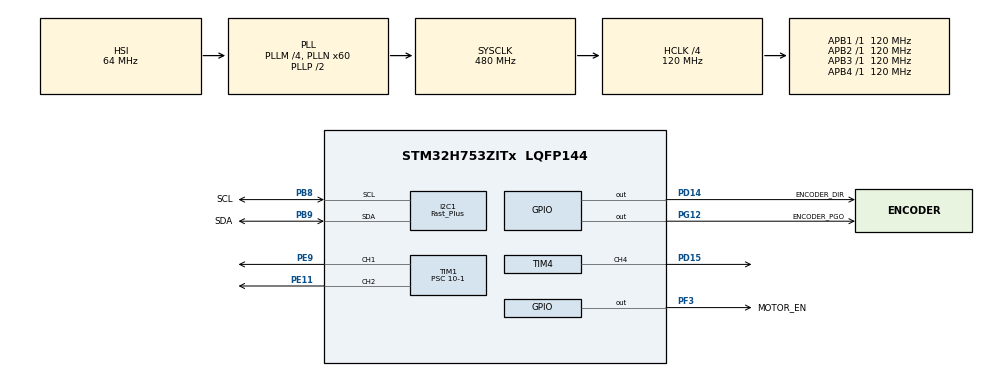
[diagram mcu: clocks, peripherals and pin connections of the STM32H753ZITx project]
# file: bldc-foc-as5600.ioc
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CORTEX_M7.CPU_DCache=Disabled
CORTEX_M7.CPU_ICache=Disabled
CORTEX_M7.MPU_Control=MPU_PRIVILEGED_DEFAULT
CORTEX_M7.default_mode_Activation=1
Dma.I2C1_RX.0.Direction=DMA_PERIPH_TO_MEMORY
Dma.I2C1_RX.0.EventEnable=DISABLE
Dma.I2C1_RX.0.FIFOMode=DMA_FIFOMODE_DISABLE
Dma.I2C1_RX.0.Instance=DMA1_Stream0
Dma.I2C1_RX.0.MemDataAlignment=DMA_MDATAALIGN_BYTE
Dma.I2C1_RX.0.MemInc=DMA_MINC_ENABLE
Dma.I2C1_RX.0.Mode=DMA_NORMAL
Dma.I2C1_RX.0.PeriphDataAlignment=DMA_PDATAALIGN_BYTE
Dma.I2C1_RX.0.PeriphInc=DMA_PINC_DISABLE
Dma.I2C1_RX.0.Polarity=HAL_DMAMUX_REQ_GEN_RISING
Dma.I2C1_RX.0.Priority=DMA_PRIORITY_LOW
Dma.I2C1_RX.0.RequestNumber=1
Dma.I2C1_RX.0.SignalID=NONE
Dma.I2C1_RX.0.SyncEnable=DISABLE
Dma.I2C1_RX.0.SyncPolarity=HAL_DMAMUX_SYNC_NO_EVENT
Dma.I2C1_RX.0.SyncRequestNumber=1
Dma.I2C1_RX.0.SyncSignalID=NONE
Dma.I2C1_TX.1.Direction=DMA_MEMORY_TO_PERIPH
Dma.I2C1_TX.1.EventEnable=DISABLE
Dma.I2C1_TX.1.FIFOMode=DMA_FIFOMODE_DISABLE
Dma.I2C1_TX.1.Instance=DMA1_Stream1
Dma.I2C1_TX.1.MemDataAlignment=DMA_MDATAALIGN_BYTE
Dma.I2C1_TX.1.MemInc=DMA_MINC_ENABLE
Dma.I2C1_TX.1.Mode=DMA_NORMAL
Dma.I2C1_TX.1.PeriphDataAlignment=DMA_PDATAALIGN_BYTE
Dma.I2C1_TX.1.PeriphInc=DMA_PINC_DISABLE
Dma.I2C1_TX.1.Polarity=HAL_DMAMUX_REQ_GEN_RISING
Dma.I2C1_TX.1.Priority=DMA_PRIORITY_LOW
Dma.I2C1_TX.1.RequestNumber=1
Dma.I2C1_TX.1.SignalID=NONE
Dma.I2C1_TX.1.SyncEnable=DISABLE
Dma.I2C1_TX.1.SyncPolarity=HAL_DMAMUX_SYNC_NO_EVENT
Dma.I2C1_TX.1.SyncRequestNumber=1
Dma.I2C1_TX.1.SyncSignalID=NONE
Dma.Request0=I2C1_RX
Dma.Request1=I2C1_TX
I2C1.I2C_Fall_Time=15
I2C1.I2C_Rise_Time=0
I2C1.I2C_Speed_Mode=I2C_Fast_Plus
I2C1.OwnAddress=AS5600_I2C_ADDR
I2C1.Timing=0x0050174D
Mcu.Family=STM32H7
Mcu.Name=STM32H753ZITx
Mcu.Package=LQFP144
Mcu.UserConstants=AS5600_I2C_ADDR,0x36
NUCLEO-H753ZI.BUTTON=1
NUCLEO-H753ZI.LD1=true
NUCLEO-H753ZI.LD2=true
NUCLEO-H753ZI.LD3=true
NUCLEO-H753ZI.VCP=true
NVIC.DMA1_Stream0_IRQn=true\:0\:0\:false\:false\:true\:false\:true\:true
NVIC.DMA1_Stream1_IRQn=true\:0\:0\:false\:false\:true\:false\:true\:true
NVIC.EXTI15_10_IRQn=true\:0\:0\:false\:false\:true\:false\:true\:true
NVIC.I2C1_ER_IRQn=true\:0\:0\:false\:false\:true\:true\:true\:true
NVIC.I2C1_EV_IRQn=true\:0\:0\:false\:false\:true\:true\:true\:true
NVIC.PriorityGroup=NVIC_PRIORITYGROUP_4
NVIC.TIM2_IRQn=true\:0\:0\:false\:false\:true\:true\:true\:true
PB8.GPIO_Label=SCL
PB8.Mode=I2C
PB8.Signal=I2C1_SCL
PB9.GPIO_Label=SDA
PB9.Mode=I2C
PB9.Signal=I2C1_SDA
PC14-OSC32_IN\ (OSC32_IN).Signal=RCC_OSC32_IN
PC15-OSC32_OUT\ (OSC32_OUT).Signal=RCC_OSC32_OUT
PD14.GPIO_Label=ENCODER_DIR
PD14.PinState=GPIO_PIN_SET
PD14.Signal=GPIO_Output
PD15.Signal=S_TIM4_CH4
PD8.Signal=USART3_TX
PD9.Signal=USART3_RX
PE11.Signal=S_TIM1_CH2
PE9.Signal=S_TIM1_CH1
PF3.GPIO_Label=MOTOR_EN
PF3.Signal=GPIO_Output
PG12.GPIO_Label=ENCODER_PGO
PG12.PinState=GPIO_PIN_SET
PG12.Signal=GPIO_Output
PH0-OSC_IN\ (PH0).Signal=RCC_OSC_IN
PH1-OSC_OUT\ (PH1).Signal=RCC_OSC_OUT
ProjectManager.HeapSize=0x200
ProjectManager.StackSize=0x400
ProjectManager.TargetToolchain=STM32CubeIDE
RCC.ADCFreq_Value=129000000
RCC.APB1Freq_Value=120000000
RCC.APB2Freq_Value=120000000
RCC.APB3Freq_Value=120000000
RCC.APB4Freq_Value=120000000
RCC.CortexFreq_Value=480000000
RCC.DIVM1=4
RCC.DIVN1=60
RCC.DIVQ1=4
RCC.HCLKFreq_Value=120000000
RCC.HPRE=RCC_HCLK_DIV4
RCC.HSE_VALUE=8000000
RCC.SYSCLKFreq_VALUE=480000000
RCC.SYSCLKSource=RCC_SYSCLKSOURCE_PLLCLK
RCC.USBFreq_Value=240000000
SH.S_TIM1_CH1.0=TIM1_CH1,PWM Generation1 CH1
SH.S_TIM1_CH2.0=TIM1_CH2,PWM Generation2 CH2
SH.S_TIM4_CH4.0=TIM4_CH4,PWM Generation4 CH4
TIM1.Channel-PWM\ Generation1\ CH1=TIM_CHANNEL_1
TIM1.Channel-PWM\ Generation2\ CH2=TIM_CHANNEL_2
TIM1.Period=400-1
TIM1.Prescaler=10-1
TIM2.Period=1000-1
TIM2.Prescaler=300-1
TIM4.Channel-PWM\ Generation4\ CH4=TIM_CHANNEL_4
TIM4.Prescaler=10-1
VP_MEMORYMAP_VS_MEMORYMAP.Mode=CurAppReg
VP_NUCLEO-H753ZI_VS_BSP_COMMON.Mode=COMMON
VP_TIM1_VS_ClockSourceINT.Mode=Internal
VP_TIM2_VS_ClockSourceINT.Mode=Internal
board=NUCLEO-H753ZI

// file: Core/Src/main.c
/* USER CODE BEGIN Header */
/**
  ******************************************************************************
  * @file           : main.c
  * @brief          : Main program body
  ******************************************************************************
  * @attention
  *
  * Copyright (c) 2026 STMicroelectronics.
  * All rights reserved.
  *
  * This software is licensed under terms that can be found in the LICENSE file
  * in the root directory of this software component.
  * If no LICENSE file comes with this software, it is provided AS-IS.
  *
  ******************************************************************************
  */
/* USER CODE END Header */
#include "main.h"
#include "dma.h"
#include "gpio.h"
#include "i2c.h"
#include "tim.h"

/* USER CODE BEGIN Includes */
#include <stdbool.h>
#include "as5600.h"
#include "motor.h"
/* USER CODE END Includes */

COM_InitTypeDef BspCOMInit;

void SystemClock_Config(void);
static void MPU_Config(void);
/* USER CODE BEGIN PFP */
static void toggle_led(void);

/* USER CODE END PFP */

int main(void)
{

  /* MPU Configuration--------------------------------------------------------*/
  MPU_Config();

  /* MCU Configuration--------------------------------------------------------*/

  /* Reset of all peripherals, Initializes the Flash interface and the Systick. */
  HAL_Init();

  /* Configure the system clock */
  SystemClock_Config();

  /* Initialize all configured peripherals */
  MX_GPIO_Init();
  MX_DMA_Init();
  MX_I2C1_Init();
  MX_TIM1_Init();
  MX_TIM2_Init();
  MX_TIM4_Init();

  /* Initialize leds */
  BSP_LED_Init(LED_GREEN);
  BSP_LED_Init(LED_YELLOW);
  BSP_LED_Init(LED_RED);

  /* Initialize USER push-button, will be used to trigger an interrupt each time it's pressed.*/
  BSP_PB_Init(BUTTON_USER, BUTTON_MODE_EXTI);

  /* Initialize COM1 port (115200, 8 bits (7-bit data + 1 stop bit), no parity */
  BspCOMInit.BaudRate = 115200;
  BspCOMInit.WordLength = COM_WORDLENGTH_8B;
  BspCOMInit.StopBits = COM_STOPBITS_1;
  BspCOMInit.Parity = COM_PARITY_NONE;
  BspCOMInit.HwFlowCtl = COM_HWCONTROL_NONE;
  if (BSP_COM_Init(COM1, &BspCOMInit) != BSP_ERROR_NONE) {
    Error_Handler();
  }

  /* Infinite loop */
  /* USER CODE BEGIN WHILE */
  AS5600_init();
  motor_init();
  uint16_t runnable_10ms_cnt = 10;
  uint16_t runnable_1000ms_cnt = 1000;
  uint32_t prev = HAL_GetTick();
  uint32_t curr = 0;
  while (1) {
    curr = HAL_GetTick();
    if (curr == prev) continue;
    prev = curr;
    AS5600_read_angle();

    if (runnable_10ms_cnt > 0) runnable_10ms_cnt--;
    if (runnable_10ms_cnt == 0) {
      runnable_10ms_cnt = 10;
    }

    if (runnable_1000ms_cnt > 0) runnable_1000ms_cnt--;
    if (runnable_1000ms_cnt == 0) {
      toggle_led();
      runnable_1000ms_cnt = 1000;
    }

    /* USER CODE END WHILE */

  }
}

void SystemClock_Config(void)
{
  RCC_OscInitTypeDef RCC_OscInitStruct = {0};
  RCC_ClkInitTypeDef RCC_ClkInitStruct = {0};

  /** Supply configuration update enable
  */
  HAL_PWREx_ConfigSupply(PWR_LDO_SUPPLY);

  /** Configure the main internal regulator output voltage
  */
  __HAL_PWR_VOLTAGESCALING_CONFIG(PWR_REGULATOR_VOLTAGE_SCALE0);

  while (!__HAL_PWR_GET_FLAG(PWR_FLAG_VOSRDY)) {}

  /** Initializes the RCC Oscillators according to the specified parameters
  * in the RCC_OscInitTypeDef structure.
  */
  RCC_OscInitStruct.OscillatorType = RCC_OSCILLATORTYPE_HSI;
  RCC_OscInitStruct.HSIState = RCC_HSI_DIV1;
  RCC_OscInitStruct.HSICalibrationValue = RCC_HSICALIBRATION_DEFAULT;
  RCC_OscInitStruct.PLL.PLLState = RCC_PLL_ON;
  RCC_OscInitStruct.PLL.PLLSource = RCC_PLLSOURCE_HSI;
  RCC_OscInitStruct.PLL.PLLM = 4;
  RCC_OscInitStruct.PLL.PLLN = 60;
  RCC_OscInitStruct.PLL.PLLP = 2;
  RCC_OscInitStruct.PLL.PLLQ = 4;
  RCC_OscInitStruct.PLL.PLLR = 2;
  RCC_OscInitStruct.PLL.PLLRGE = RCC_PLL1VCIRANGE_3;
  RCC_OscInitStruct.PLL.PLLVCOSEL = RCC_PLL1VCOWIDE;
  RCC_OscInitStruct.PLL.PLLFRACN = 0;
  if (HAL_RCC_OscConfig(&RCC_OscInitStruct) != HAL_OK) {
    Error_Handler();
  }

  /** Initializes the CPU, AHB and APB buses clocks
  */
  RCC_ClkInitStruct.ClockType = RCC_CLOCKTYPE_HCLK | RCC_CLOCKTYPE_SYSCLK | RCC_CLOCKTYPE_PCLK1 | RCC_CLOCKTYPE_PCLK2 | RCC_CLOCKTYPE_D3PCLK1 | RCC_CLOCKTYPE_D1PCLK1;
  RCC_ClkInitStruct.SYSCLKSource = RCC_SYSCLKSOURCE_PLLCLK;
  RCC_ClkInitStruct.SYSCLKDivider = RCC_SYSCLK_DIV1;
  RCC_ClkInitStruct.AHBCLKDivider = RCC_HCLK_DIV4;
  RCC_ClkInitStruct.APB3CLKDivider = RCC_APB3_DIV1;
  RCC_ClkInitStruct.APB1CLKDivider = RCC_APB1_DIV1;
  RCC_ClkInitStruct.APB2CLKDivider = RCC_APB2_DIV1;
  RCC_ClkInitStruct.APB4CLKDivider = RCC_APB4_DIV1;

  if (HAL_RCC_ClockConfig(&RCC_ClkInitStruct, FLASH_LATENCY_1) != HAL_OK) {
    Error_Handler();
  }
}

/* USER CODE BEGIN 4 */

uint8_t led_cnt = 0;

static void toggle_led(void)
{
  BSP_LED_Toggle(led_cnt);
  led_cnt++;
  led_cnt %= LEDn;
}

/* USER CODE END 4 */

/* MPU Configuration */

void MPU_Config(void)
{
  MPU_Region_InitTypeDef MPU_InitStruct = {0};

  /* Disables the MPU */
  HAL_MPU_Disable();

  /** Initializes and configures the Region and the memory to be protected
  */
  MPU_InitStruct.Enable = MPU_REGION_ENABLE;
  MPU_InitStruct.Number = MPU_REGION_NUMBER0;
  MPU_InitStruct.BaseAddress = 0x0;
  MPU_InitStruct.Size = MPU_REGION_SIZE_4GB;
  MPU_InitStruct.SubRegionDisable = 0x87;
  MPU_InitStruct.TypeExtField = MPU_TEX_LEVEL0;
  MPU_InitStruct.AccessPermission = MPU_REGION_NO_ACCESS;
  MPU_InitStruct.DisableExec = MPU_INSTRUCTION_ACCESS_DISABLE;
  MPU_InitStruct.IsShareable = MPU_ACCESS_SHAREABLE;
  MPU_InitStruct.IsCacheable = MPU_ACCESS_NOT_CACHEABLE;
  MPU_InitStruct.IsBufferable = MPU_ACCESS_NOT_BUFFERABLE;

  HAL_MPU_ConfigRegion(&MPU_InitStruct);
  /* Enables the MPU */
  HAL_MPU_Enable(MPU_PRIVILEGED_DEFAULT);
}

void Error_Handler(void)
{
  __disable_irq();
  while (1) {}
}
